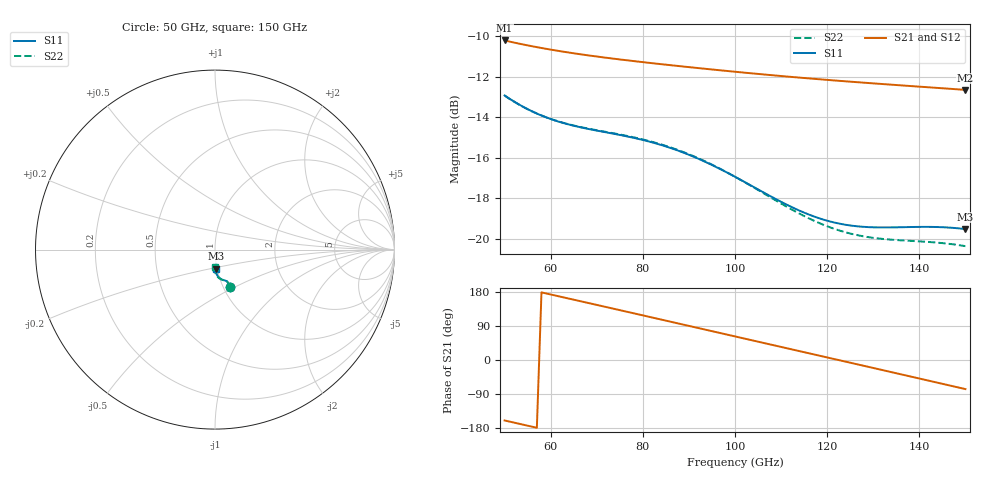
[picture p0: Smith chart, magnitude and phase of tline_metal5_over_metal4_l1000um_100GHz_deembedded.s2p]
! Created with skrf 2.0.1 (http://scikit-rf.org).
# GHz S DB R 50.0
!freq dBS11 angS11 dBS21 angS21 dBS12 angS12 dBS22 angS22
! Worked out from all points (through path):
!   101 points, 50 GHz to 150 GHz, reference 50 ohm
!   highest |S21| = -10.20 dB at 50 GHz (marker M1); lowest = -12.6 dB at 150 GHz (marker M2)
!   group delay of S21, straight-line fit = 7.7 ps
!   lowest |S11| = -19.5 dB at 150 GHz (marker M3), VSWR 1.24, Z = 49.5 - j10.6 ohm
!   |S11| at or under -10 dB: start of sweep to end of sweep
!   |S22| runs from -20.4 to -12.9 dB; largest |S21 - S12| = 4.6e-14
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50  -12.92 -68.3  -10.20 -159.6  -10.20 -159.6  -12.93 -68.1
54  -13.47 -68.6  -10.39 -170.6  -10.39 -170.6  -13.48 -68.4
58  -13.91 -68.7  -10.57 178.4  -10.57 178.4  -13.91 -68.5
62  -14.23 -68.9  -10.72 167.4  -10.72 167.4  -14.22 -68.8
67  -14.52 -69.6  -10.90 153.6  -10.90 153.6  -14.50 -69.6
72  -14.74 -71.1  -11.05 139.9  -11.05 139.9  -14.72 -71.2
76  -14.92 -72.8  -11.16 128.8  -11.16 128.8  -14.89 -73.0
80  -15.12 -74.8  -11.27 117.7  -11.27 117.7  -15.09 -75.2
84  -15.37 -77.1  -11.37 106.7  -11.37 106.7  -15.34 -77.6
88  -15.68 -79.4  -11.47 95.6  -11.47 95.6  -15.65 -80.2
92  -16.04 -81.6  -11.56 84.5  -11.56 84.5  -16.02 -82.7
96  -16.47 -83.7  -11.65 73.3  -11.65 73.3  -16.45 -85.0
100  -16.94 -85.3  -11.74 62.2  -11.74 62.2  -16.94 -87.0
109  -18.06 -86.9  -11.93 37.3  -11.93 37.3  -18.13 -89.6
113  -18.51 -86.7  -12.01 26.2  -12.01 26.2  -18.64 -89.8
117  -18.89 -85.9  -12.09 15.1  -12.09 15.1  -19.10 -89.4
121  -19.17 -84.9  -12.16 4.0  -12.16 4.0  -19.47 -88.7
125  -19.35 -83.9  -12.23 -7.1  -12.23 -7.1  -19.75 -87.8
129  -19.43 -83.1  -12.30 -18.2  -12.30 -18.2  -19.93 -87.1
134  -19.45 -82.8  -12.38 -32.1  -12.38 -32.1  -20.05 -86.6
142  -19.42 -84.0  -12.51 -54.4  -12.51 -54.4  -20.17 -87.5
150  -19.53 -86.6  -12.64 -76.8  -12.64 -76.8  -20.37 -89.9
